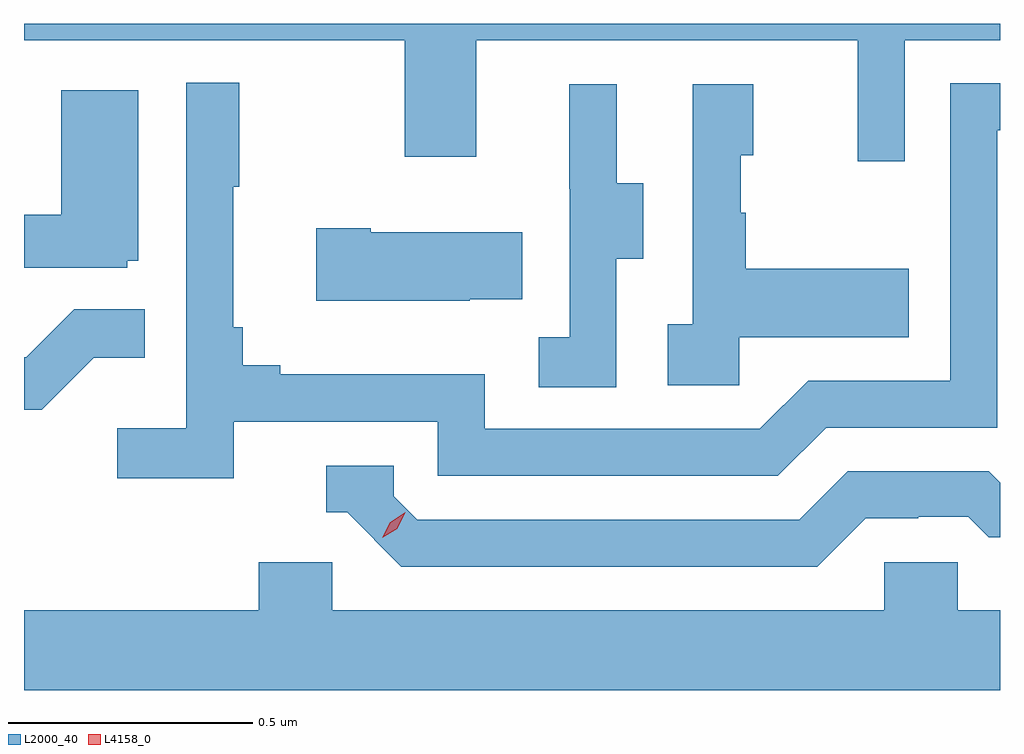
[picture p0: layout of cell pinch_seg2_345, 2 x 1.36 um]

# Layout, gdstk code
import gdstk
lib = gdstk.Library(unit=1e-6, precision=1e-09)
def P(c, l, *ps):  # polygons
    for p in ps: c.add(gdstk.Polygon(p, *l))
L2000_40 = (2000, 40)
L4158_0 = (4158, 0)

pinch_seg2_345 = lib.new_cell('pinch_seg2_345')
P(pinch_seg2_345, L2000_40, [(1011.339,635.648),(1011.534,635.648),(1011.534,635.681),(1009.534,635.681),(1009.534,635.648),(1010.314,635.648),(1010.314,635.409),(1010.461,635.409),(1010.461,635.648),(1011.242,635.648),(1011.242,635.4),(1011.339,635.4)],
  [(1009.964,634.866),(1010.382,634.866),(1010.382,634.755),(1011.079,634.755),(1011.178,634.854),(1011.528,634.854),(1011.528,635.463),(1011.534,635.463),(1011.534,635.559),(1011.432,635.559),(1011.432,634.95),(1011.141,634.95),(1011.042,634.851),(1010.478,634.851),(1010.478,634.963),(1010.059,634.963),(1010.059,634.982),(1009.982,634.982),(1009.982,635.059),(1009.963,635.059),(1009.963,635.347),(1009.975,635.347),(1009.975,635.56),(1009.866,635.56),(1009.866,634.852),(1009.725,634.852),(1009.725,634.75),(1009.964,634.75)],
  [(1010.748,635.2),(1010.803,635.2),(1010.803,635.355),(1010.749,635.355),(1010.749,635.557),(1010.651,635.557),(1010.651,635.343),(1010.652,635.343),(1010.652,635.039),(1010.589,635.039),(1010.589,634.936),(1010.748,634.936)],
  [(1011,635.039),(1011.347,635.039),(1011.347,635.179),(1011.013,635.179),(1011.013,635.294),(1011.003,635.294),(1011.003,635.412),(1011.028,635.412),(1011.028,635.557),(1010.904,635.557),(1010.904,635.066),(1010.853,635.066),(1010.853,634.941),(1011,634.941)],
  [(1009.746,635.196),(1009.768,635.196),(1009.768,635.545),(1009.61,635.545),(1009.61,635.29),(1009.534,635.29),(1009.534,635.181),(1009.746,635.181)],
  [(1010.447,635.117),(1010.555,635.117),(1010.555,635.254),(1010.245,635.254),(1010.245,635.262),(1010.133,635.262),(1010.133,635.114),(1010.447,635.114)],
  [(1009.677,634.997),(1009.781,634.997),(1009.781,635.096),(1009.637,635.096),(1009.539,634.998),(1009.534,634.998),(1009.534,634.89),(1009.57,634.89)],
  [(1011.259,634.668),(1011.366,634.668),(1011.366,634.671),(1011.469,634.671),(1011.511,634.629),(1011.534,634.629),(1011.534,634.741),(1011.511,634.764),(1011.222,634.764),(1011.123,634.665),(1010.34,634.665),(1010.292,634.713),(1010.292,634.776),(1010.153,634.776),(1010.153,634.68),(1010.196,634.68),(1010.307,634.569),(1011.16,634.569)],
  [(1011.534,634.48),(1011.447,634.48),(1011.447,634.578),(1011.297,634.578),(1011.297,634.48),(1010.166,634.48),(1010.166,634.578),(1010.015,634.578),(1010.015,634.48),(1009.534,634.48),(1009.534,634.316),(1011.534,634.316)])
P(pinch_seg2_345, L4158_0, [(1010.268,634.628),(1010.268,634.628),(1010.284,634.66),(1010.315,634.68),(1010.315,634.68),(1010.315,634.679),(1010.299,634.647),(1010.268,634.628)])

lib.write_gds('pinch_seg2_345.gds')
